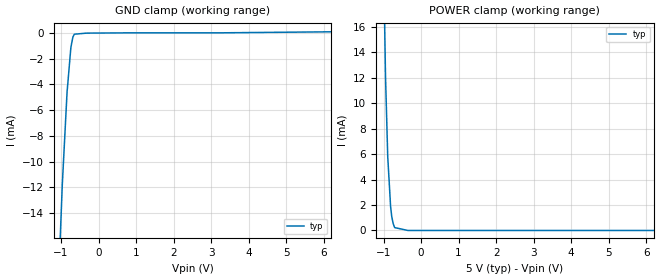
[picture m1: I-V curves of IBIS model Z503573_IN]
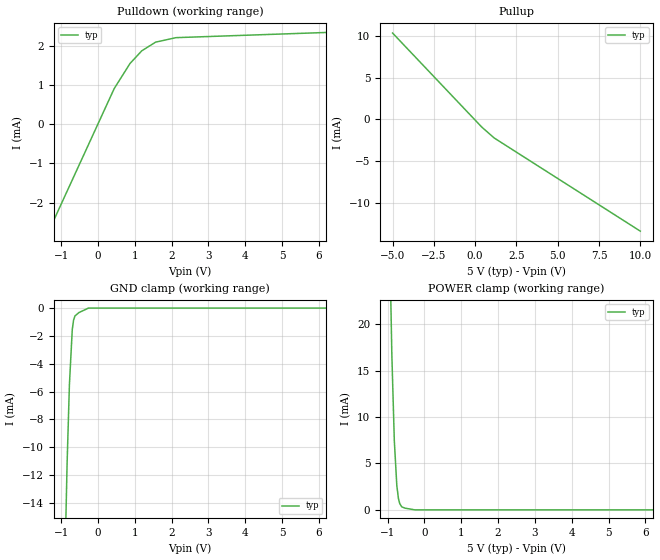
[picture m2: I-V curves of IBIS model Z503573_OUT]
| YOU ARE ONLY AUTHORIZED TO USE THIS SOFTWARE
| ACCORDING TO LICENSOR'S LICENSE RESTRICTIONS.
[IBIS Ver] 3.1
[File Name] mc14081bcl.ibs
[File Rev] 2.0
[Source] Measured and created by ICX Technology
[Date] Friday 7/14/00 9:07:53 AM
[Copyright]
| (C) COPYRIGHT 1993-2000
| MENTOR GRAPHICS CORPORATION
| ICX STANDARD LIBRARY, ICX PROJECT MODELING,
| ICX CUSTOM MODELING, ICX VENDOR MODEL
| ALL RIGHTS RESERVED.
| THE FOLLOWING ARE TRADEMARKS OR SERVICE MARKS OF
| MENTOR GRAPHICS CORPORATION:ICX (R), ICX STANDARD
| LIBRARY(R), ICX PROJECT MODELING(R), ICX CUSTOM
| MODELING(R), qualityIBIS(TM), MODELVIEWER(TM),
| AND MODELEDITOR(TM)
| ALL COPIES OF SOFTWARE, INCLUDING BUT NOT LIMITED TO
| ANY MODIFICATIONS, ENHANCEMENTS OR DERIVATIVE WORKS,
| MUST CONTAIN ALL MENTOR GRAPHICS CORPORATION'S
| NOTICES AND LEGENDS, INCLUDING THOSE EMBEDDED IN
| SOFTWARE AND THOSE AFFIXED TO SOFTWARE MEDIUM
| AND CONTAINER, AS RECEIVED FROM MENTOR GRAPHICS
| CORPORATION.
|  ZAP Model Builder 2.7
[Component] MC14081BCL
[Manufacturer] OnSemiconductor
[Package]
| variable   typ   min   max
R_pkg  .21ohms NA NA
L_pkg  4.543nH NA NA
C_pkg  1.8pF NA NA
[Pin] signal_name  model_name  R_pin  L_pin C_pin
1 IN1A Z503573_IN .22 6.757n 2.434p
2 IN2A Z503573_IN .212 4.757n 1.941p
3 OUTA Z503573_OUT .204 3.257n 1.448p
4 OUTB Z503573_OUT .196 2.257n .955p
5 IN1B Z503573_IN .204 3.257n 1.448p
6 IN2B Z503573_IN .212 4.757n 1.941p
7 VSS POWER .22 6.757n 2.434p
8 IN1C Z503573_IN .22 6.757n 2.434p
9 IN2C Z503573_IN .212 4.757n 1.941p
10 OUTC Z503573_OUT .204 3.257n 1.448p
11 OUTD Z503573_OUT .196 2.257n .955p
12 IN1D Z503573_IN .204 3.257n 1.448p
13 IN2D Z503573_IN .212 4.757n 1.941p
14 VDD POWER .22 6.757n 2.434p
| Models and submodels in the file (2): Z503573_IN (Input), Z503573_OUT (Output)
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| (C) COPYRIGHT 1993-2000
| MENTOR GRAPHICS CORPORATION
| ICX STANDARD LIBRARY, ICX PROJECT MODELING,
| ICX CUSTOM MODELING, ICX VENDOR MODEL
| ALL RIGHTS RESERVED.
| THE FOLLOWING ARE TRADEMARKS OR SERVICE MARKS OF
| MENTOR GRAPHICS CORPORATION:ICX (R), ICX STANDARD
| LIBRARY(R), ICX PROJECT MODELING(R), ICX CUSTOM
| MODELING(R), qualityIBIS(TM), MODELVIEWER(TM),
| AND MODELEDITOR(TM)
| ALL COPIES OF SOFTWARE, INCLUDING BUT NOT LIMITED TO
| ANY MODIFICATIONS, ENHANCEMENTS OR DERIVATIVE WORKS,
| MUST CONTAIN ALL MENTOR GRAPHICS CORPORATION'S
| NOTICES AND LEGENDS, INCLUDING THOSE EMBEDDED IN
| SOFTWARE AND THOSE AFFIXED TO SOFTWARE MEDIUM
| AND CONTAINER, AS RECEIVED FROM MENTOR GRAPHICS
| CORPORATION.
| Model Application Version 1.89 2/18/99.
[Model] Z503573_IN
Model_type Input
Vinl = 1.500V
Vinh = 3.500V
C_comp 4.000pF NA NA
| variable typ   min   max
[Voltage Range] 5.000V NA NA
[GND Clamp Reference] 0.000V NA NA
[POWER Clamp Reference] 5.000V NA NA
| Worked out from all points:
|   GND clamp passes 1 mA (typ) near -0.73 V on its own axis
|   POWER clamp passes 1 mA (typ) near -0.78 V on its own axis
[GND Clamp]
-5V       -316mA     NA         NA
-966.7mV  -11.82mA   NA         NA
-839.8mV  -4.611mA   NA         NA
-737.4mV  -1.113mA   NA         NA
-683.6mV  -303.2uA   NA         NA
-644.6mV  -90.01uA   NA         NA
-322.3mV  -6.696uA   NA         NA
787mV     15.64uA    NA         NA
3.218V    15.64uA    NA         NA
10V       198.9uA    NA         NA
[POWER Clamp]
-5V       726.4mA    NA         NA
-947mV    12.07mA    NA         NA
-888mV    5.794mA    NA         NA
-811mV    1.84mA     NA         NA
-780mV    1.067mA    NA         NA
-742mV    533.6uA    NA         NA
-704mV    226.8uA    NA         NA
-352mV    0A         NA         NA
10V       0A         NA         NA
| (C) COPYRIGHT 1993-2000
| MENTOR GRAPHICS CORPORATION
| ICX STANDARD LIBRARY, ICX PROJECT MODELING,
| ICX CUSTOM MODELING, ICX VENDOR MODEL
| ALL RIGHTS RESERVED.
| THE FOLLOWING ARE TRADEMARKS OR SERVICE MARKS OF
| MENTOR GRAPHICS CORPORATION:ICX (R), ICX STANDARD
| LIBRARY(R), ICX PROJECT MODELING(R), ICX CUSTOM
| MODELING(R), qualityIBIS(TM), MODELVIEWER(TM),
| AND MODELEDITOR(TM)
| ALL COPIES OF SOFTWARE, INCLUDING BUT NOT LIMITED TO
| ANY MODIFICATIONS, ENHANCEMENTS OR DERIVATIVE WORKS,
| MUST CONTAIN ALL MENTOR GRAPHICS CORPORATION'S
| NOTICES AND LEGENDS, INCLUDING THOSE EMBEDDED IN
| SOFTWARE AND THOSE AFFIXED TO SOFTWARE MEDIUM
| AND CONTAINER, AS RECEIVED FROM MENTOR GRAPHICS
| CORPORATION.
| Model Application Version 1.89 2/18/99.
[Model] Z503573_OUT
Model_type Output
Vref=0.000V
Rref=500.0Mohms
Cref=50.00pF
Vmeas=2.500V
C_comp 8.000pF NA NA
| variable typ   min   max
[Voltage Range] 5.000V NA NA
[POWER Clamp Reference] 5.000V NA NA
[Pullup Reference] 5.000V NA NA
[Pulldown Reference] 0.000V NA NA
[GND Clamp Reference] 0.000V NA NA
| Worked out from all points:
|   slope of the pulldown table from 0 to 0.75 V, typ, clamps not added: 552 ohm
|   slope of the pullup table from 0 to 0.75 V, typ, clamps not added: 522 ohm
|   GND clamp passes 1 mA (typ) near -0.67 V on its own axis
|   POWER clamp passes 1 mA (typ) near -0.69 V on its own axis
[GND Clamp]
-5V       -510.3mA   NA         NA
-839.3mV  -11.15mA   NA         NA
-776.3mV  -5.478mA   NA         NA
-699mV    -1.54mA    NA         NA
-664.1mV  -869.1uA   NA         NA
-626.9mV  -569.1uA   NA         NA
-517.5mV  -321.3uA   NA         NA
-258.7mV  0A         NA         NA
10V       0A         NA         NA
[Pulldown]
-5V       -10.2mA    NA         NA
439.5mV   904.4uA    NA         NA
869.1mV   1.543mA    NA         NA
1.189V    1.866mA    NA         NA
1.565V    2.086mA    NA         NA
2.119V    2.2mA      NA         NA
10V       2.455mA    NA         NA
[Pullup]
-5V       10.32mA    NA         NA
396mV     -901.7uA   NA         NA
1.162V    -2.226mA   NA         NA
10V       -13.34mA   NA         NA
[POWER Clamp]
-5V       886.5mA    NA         NA
-883mV    16.74mA    NA         NA
-816mV    7.477mA    NA         NA
-748mV    2.623mA    NA         NA
-703mV    1.192mA    NA         NA
-669mV    681.1uA    NA         NA
-615mV    326.4uA    NA         NA
-518mV    176.2uA    NA         NA
-259mV    0A         NA         NA
10V       0A         NA         NA
[Ramp]
| variable typ min max
dV/dt_r 2.499/14.23n NA NA
dV/dt_f 2.499/12.69n NA NA
R_load = 2.500kOhms
